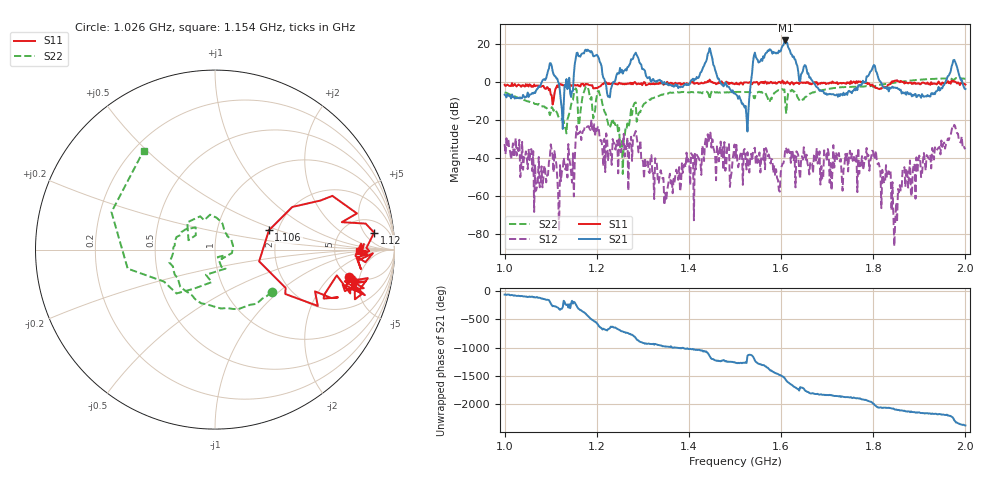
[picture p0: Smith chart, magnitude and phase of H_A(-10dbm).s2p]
#  HZ  S  RI  R  50.00
! Rohde & Schwarz Vector Network Analyzer
! Rohde-Schwarz,ZNB8-2Port,1311601042102944,2.30
! Created: UTC 6/21/2025, 12:13:54 PM
! freq[Hz]  re:S11  im:S11  re:S21  im:S21  re:S12  im:S12  re:S22  im:S22
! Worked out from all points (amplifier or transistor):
!   500 points, 1 GHz to 2 GHz, reference 50 ohm
!   highest |S21| = 21.9 dB at 1.609 GHz (marker M1)
!   |S21| within 3 dB of that: 1.603 GHz to 1.615 GHz (11.94 MHz wide, 0.742 % of centre)
!   unconditionally stable (mu >= 1): start of sweep to 1.154 GHz; 1.289 GHz to 1.351 GHz; 1.354 GHz to 1.403 GHz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
!   at 1.166 GHz: K = 0.53, MSG = 22.6 dB, |S12| = -30.6 dB
!   at 1.501 GHz: K = 15.71, MAG = 2.1 dB, |S12| = -40.5 dB
!   at 2 GHz: K = -6.99, MSG = 15.8 dB, |S12| = -35.4 dB
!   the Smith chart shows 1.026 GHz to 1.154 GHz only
!   S11 on the Smith chart (normalised r, x): 1.026 GHz: 4.77, -3.50; 1.106 GHz: 1.79, +0.43; 1.12 GHz: 9, +9; 1.154 GHz: 9.10, -0.51
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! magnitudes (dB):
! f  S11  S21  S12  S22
! 1 GHz  -1.5  -6.7  -32.7  -5.5
! 1.026 GHz  -2.4  -8.6  -38.7  -8.1
! 1.068 GHz  -1.9  -4.6  -57.3  -11.6
! 1.106 GHz  -9.9  4.1  -47.6  -15.2
! 1.12 GHz  -1.0  -5.3  -43.8  -19.6
! 1.154 GHz  -1.9  12.3  -29.6  -3.4
! 1.168 GHz  -1.1  15.0  -27.1  -8.9
! 1.226 GHz  -0.6  -7.7  -36.0  -23.9
! 1.255 GHz  -0.8  6.4  -33.8  -30.7
! 1.335 GHz  -1.1  0.8  -53.1  -7.4
! 1.445 GHz  1.2  17.8  -26.2  -9.1
! 1.501 GHz  -1.0  -6.3  -40.5  -5.3
! 1.525 GHz  -0.3  -18.6  -46.1  -5.3
! 1.543 GHz  -0.2  15.4  -34.6  -8.6
! 1.595 GHz  0.0  16.5  -57.0  -4.4
! 1.609 GHz  -0.9  21.9  -34.6  -11.7
! 1.667 GHz  -1.0  0.9  -42.9  -5.7
! 1.834 GHz  -1.4  -5.0  -47.0  -0.8
! 1.848 GHz  0.7  -3.0  -73.6  -0.3
! 1.868 GHz  -0.8  -6.1  -44.9  0.3
! 1.976 GHz  0.1  11.6  -22.6  1.1
! 2 GHz  -1.4  -3.7  -35.4  1.7
